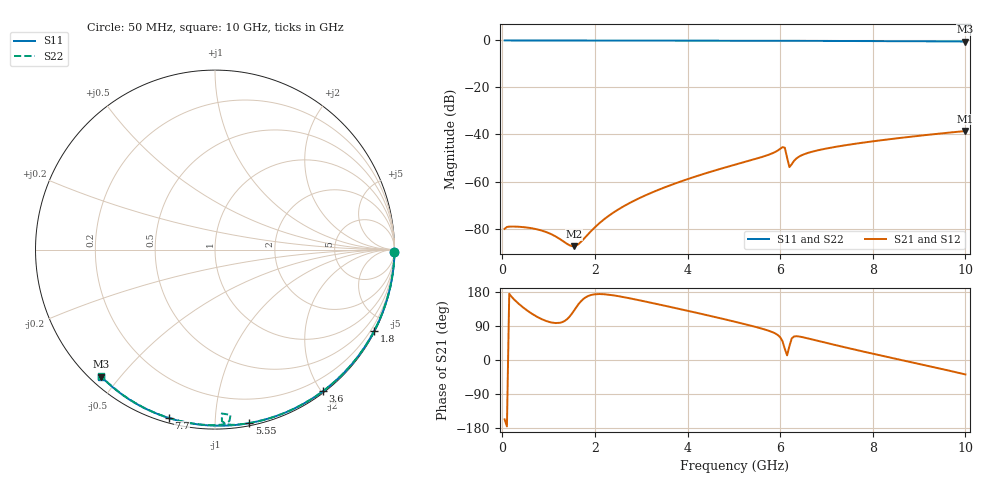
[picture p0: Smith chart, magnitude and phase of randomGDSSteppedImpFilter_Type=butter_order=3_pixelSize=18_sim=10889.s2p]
! freq	dB(S11)	phase(S11)	dB(S12)	phase(S12)
!  dB(S21)	phase(S21)	dB(S22)	phase(S22)
!S-par simulation data
#  GHz  S  DB  R 50
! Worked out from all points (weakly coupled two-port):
!   200 points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, 50 MHz to 10 GHz, reference 50 ohm
!   highest |S21| = -38.54 dB at 10 GHz (marker M1); lowest = -87.5 dB at 1.55 GHz (marker M2)
!   lowest |S11| = -0.4 dB at 10 GHz (marker M3), VSWR 39.10, Z = 1.53 - j22.3 ohm
!   |S11| at or under -10 dB: nowhere
!   |S22| runs from -0.8 to 0.0 dB; largest |S21 - S12| = 0
!   S11 on the Smith chart (normalised r, x): 50 MHz: open; 1.8 GHz: 0.04, -4.17; 3.6 GHz: 0.02, -2.01; 5.55 GHz: 0.02, -1.22; 7.7 GHz: 0.02, -0.76; 10 GHz: 0.03, -0.45
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0.05  -0.00 -0.8  -80.14 -156.7  -80.14 -156.7  -0.00 -0.8
0.2  -0.00 -3.0  -79.15 167.0  -79.15 167.0  -0.00 -3.1
0.7  -0.01 -10.6  -80.12 117.5  -80.12 117.5  -0.01 -10.6
1.55  -0.03 -23.3  -87.51 130.7  -87.51 130.7  -0.03 -23.4
1.75  -0.03 -26.3  -84.63 161.0  -84.63 161.0  -0.03 -26.3
1.8  -0.03 -27.0  -83.56 165.4  -83.56 165.4  -0.03 -27.1
1.95  -0.04 -29.2  -80.42 172.4  -80.42 172.4  -0.04 -29.3
2.55  -0.05 -37.9  -71.34 167.5  -71.34 167.5  -0.05 -38.0
3.4  -0.07 -50.0  -63.32 146.1  -63.32 146.1  -0.07 -50.1
3.6  -0.07 -52.8  -61.80 140.8  -61.80 140.8  -0.07 -52.9
5.05  -0.11 -72.4  -52.70 100.2  -52.70 100.2  -0.11 -72.6
5.55  -0.13 -78.9  -49.91 84.7  -49.91 84.7  -0.13 -79.3
6  -0.15 -84.6  -46.12 60.1  -46.12 60.1  -0.24 -86.4
6.1  -0.15 -85.9  -45.61 29.6  -45.61 29.6  -0.78 -87.6
6.15  -0.15 -86.5  -49.89 12.3  -49.89 12.3  -0.68 -84.6
6.2  -0.16 -87.1  -53.88 36.6  -53.88 36.6  -0.37 -85.2
6.3  -0.16 -88.4  -51.20 62.1  -51.20 62.1  -0.23 -87.2
6.4  -0.17 -89.6  -49.52 62.2  -49.52 62.2  -0.20 -88.8
6.7  -0.18 -93.3  -47.28 54.0  -47.28 54.0  -0.19 -92.9
7.7  -0.24 -105.3  -43.72 24.9  -43.72 24.9  -0.25 -105.2
8.35  -0.29 -113.0  -42.04 7.1  -42.04 7.1  -0.29 -112.9
10  -0.44 -131.9  -38.54 -38.1  -38.54 -38.1  -0.46 -131.9
